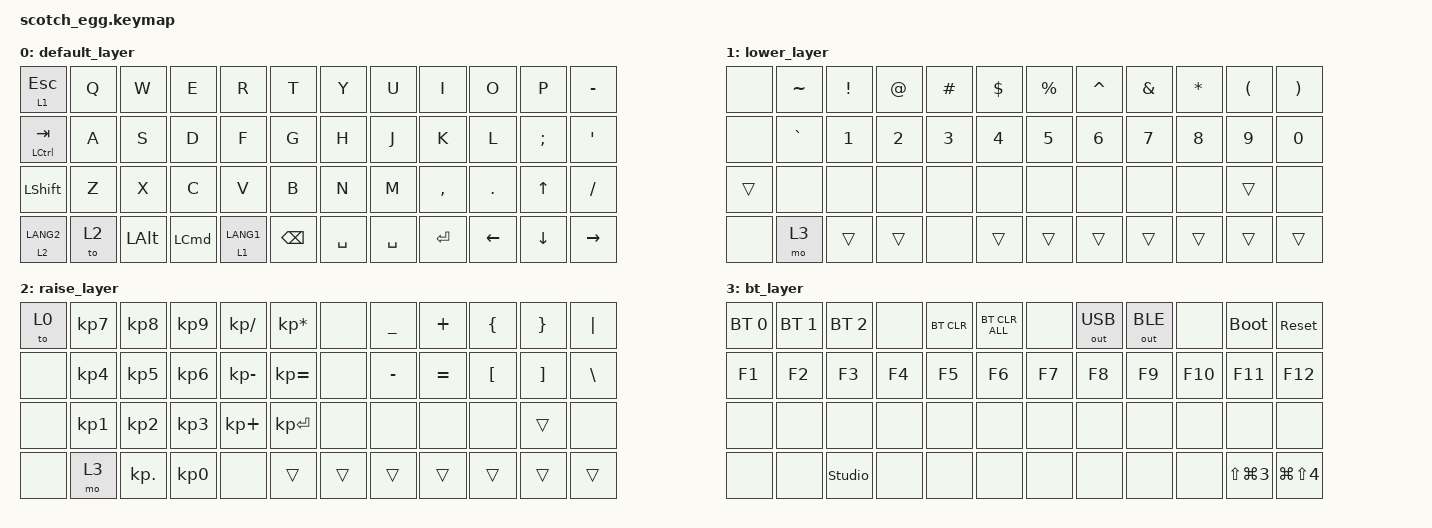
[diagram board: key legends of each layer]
#include <behaviors.dtsi>
#include <dt-bindings/zmk/bt.h>
#include <dt-bindings/zmk/keys.h>
#include <dt-bindings/zmk/outputs.h>

/ {
    keymap {
        compatible = "zmk,keymap";

        default_layer {
            bindings = <
&lt 1 ESC      &kp Q  &kp W         &kp E             &kp R        &kp T          &kp Y      &kp U      &kp I       &kp O     &kp P         &kp MINUS
&mt LCTRL TAB  &kp A  &kp S         &kp D             &kp F        &kp G          &kp H      &kp J      &kp K       &kp L     &kp SEMI      &kp SQT
&kp LSHFT      &kp Z  &kp X         &kp C             &kp V        &kp B          &kp N      &kp M      &kp COMMA   &kp DOT   &kp UP_ARROW  &kp SLASH
&lt 2 LANG2    &to 2  &kp LEFT_ALT  &kp LEFT_COMMAND  &lt 1 LANG1  &kp BACKSPACE  &kp SPACE  &kp SPACE  &kp RETURN  &kp LEFT  &kp DOWN      &kp RIGHT
            >;
        };

        lower_layer {
            bindings = <
&none   &kp TILDE  &kp EXCL  &kp AT  &kp HASH  &kp DOLLAR  &kp PERCENT  &kp CARET  &kp AMPS  &kp STAR  &kp LEFT_PARENTHESIS  &kp RIGHT_PARENTHESIS
&none   &kp GRAVE  &kp N1    &kp N2  &kp N3    &kp N4      &kp N5       &kp N6     &kp N7    &kp N8    &kp N9                &kp N0
&trans  &none      &none     &none   &none     &none       &none        &none      &none     &none     &trans                &none
&none   &mo 3      &trans    &trans  &none     &trans      &trans       &trans     &trans    &trans    &trans                &trans
            >;
        };

        raise_layer {
            bindings = <
&to 0  &kp KP_NUMBER_7  &kp KP_NUMBER_8  &kp KP_NUMBER_9  &kp KP_DIVIDE    &kp KP_MULTIPLY  &none   &kp UNDER  &kp PLUS   &kp LEFT_BRACE    &kp RIGHT_BRACE    &kp PIPE
&none  &kp KP_NUMBER_4  &kp KP_NUMBER_5  &kp KP_NUMBER_6  &kp KP_SUBTRACT  &kp KP_EQUAL     &none   &kp MINUS  &kp EQUAL  &kp LEFT_BRACKET  &kp RIGHT_BRACKET  &kp BACKSLASH
&none  &kp KP_NUMBER_1  &kp KP_NUMBER_2  &kp KP_NUMBER_3  &kp KP_PLUS      &kp KP_ENTER     &none   &none      &none      &none             &trans             &none
&none  &mo 3            &kp KP_DOT       &kp KP_NUMBER_0  &none            &trans           &trans  &trans     &trans     &trans            &trans             &trans
            >;
        };

        bt_layer {
            bindings = <
&bt BT_SEL 0  &bt BT_SEL 1  &bt BT_SEL 2    &none   &bt BT_CLR  &bt BT_CLR_ALL  &none   &out OUT_USB  &out OUT_BLE  &none    &bootloader           &sys_reset
&kp F1        &kp F2        &kp F3          &kp F4  &kp F5      &kp F6          &kp F7  &kp F8        &kp F9        &kp F10  &kp F11               &kp F12
&none         &none         &none           &none   &none       &none           &none   &none         &none         &none    &none                 &none
&none         &none         &studio_unlock  &none   &none       &none           &none   &none         &none         &none    &kp LS(LG(NUMBER_3))  &kp LG(LS(NUMBER_4))
            >;
        };
    };
};
